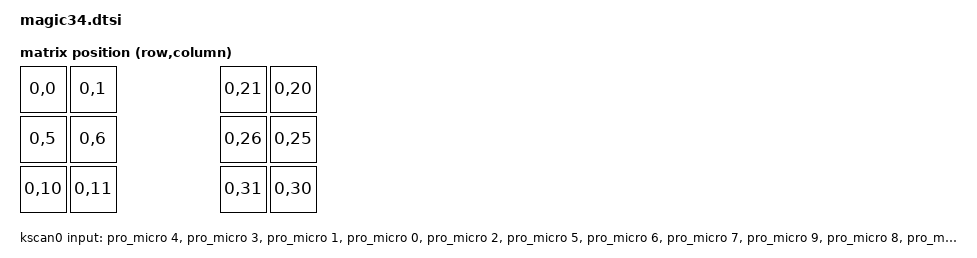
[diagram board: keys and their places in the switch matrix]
#include <dt-bindings/zmk/matrix_transform.h>


/ {

	chosen {
		zmk,kscan = &kscan0;
		zmk,matrix_transform = &default_transform;
	};

  default_transform: keymap_transform_0 {
    compatible = "zmk,matrix-transform";
    rows = 	<1>;
    colums = <17>;
    map = <
      RC(0,0)  RC(0,1)  R(0,2)  R(0,3)  R(0,4)        RC(0,21)  RC(0,20)  R(0,19)  R(0,18)  R(0,17)
      RC(0,5)  RC(0,6)  R(0,7)  R(0,8)  R(0,9)        RC(0,26)  RC(0,25)  R(0,24)  R(0,23)  R(0,22)
      RC(0,10) RC(0,11) R(0,12) R(0,13) R(0,14)       RC(0,31)  RC(0,30)  R(0,29)  R(0,28)  R(0,27)
                                R(0,15) R(0,16)       R(0,33)   R(0,32)
    >;
  };

  kscan0: kscan {
    compatible = "zmk,kscan-gpio-direct";
    label = "KSCAN";
    input-gpios
    = <&pro_micro  4 (GPIO_ACTIVE_LOW | GPIO_PULL_UP)>
		, <&pro_micro  3 (GPIO_ACTIVE_LOW | GPIO_PULL_UP)>
		, <&pro_micro  1 (GPIO_ACTIVE_LOW | GPIO_PULL_UP)>
		, <&pro_micro  0 (GPIO_ACTIVE_LOW | GPIO_PULL_UP)>
		, <&pro_micro  2 (GPIO_ACTIVE_LOW | GPIO_PULL_UP)>
		, <&pro_micro  5 (GPIO_ACTIVE_LOW | GPIO_PULL_UP)>
		, <&pro_micro  6 (GPIO_ACTIVE_LOW | GPIO_PULL_UP)>
		, <&pro_micro  7 (GPIO_ACTIVE_LOW | GPIO_PULL_UP)>
		, <&pro_micro  9 (GPIO_ACTIVE_LOW | GPIO_PULL_UP)>
		, <&pro_micro  8 (GPIO_ACTIVE_LOW | GPIO_PULL_UP)>
		, <&pro_micro 10 (GPIO_ACTIVE_LOW | GPIO_PULL_UP)>
		, <&pro_micro 14 (GPIO_ACTIVE_LOW | GPIO_PULL_UP)>
		, <&pro_micro 15 (GPIO_ACTIVE_LOW | GPIO_PULL_UP)>
		, <&pro_micro 18 (GPIO_ACTIVE_LOW | GPIO_PULL_UP)>
		, <&pro_micro 19 (GPIO_ACTIVE_LOW | GPIO_PULL_UP)>
		, <&pro_micro 20 (GPIO_ACTIVE_LOW | GPIO_PULL_UP)>
		, <&pro_micro 21 (GPIO_ACTIVE_LOW | GPIO_PULL_UP)>
		;
	};
};
